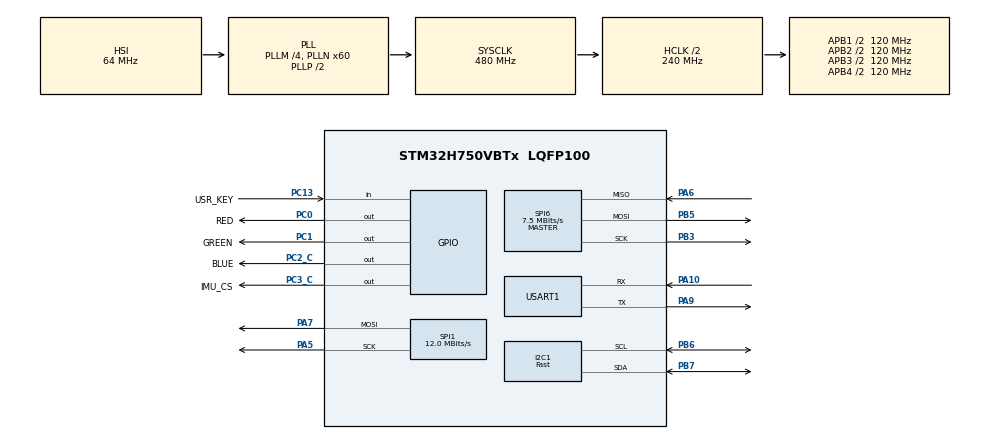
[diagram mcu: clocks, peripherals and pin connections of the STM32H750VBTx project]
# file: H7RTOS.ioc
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CORTEX_M7.AccessPermission_S-Cortex_Memory_Protection_Unit_Region1_Settings_S=MPU_REGION_FULL_ACCESS
CORTEX_M7.BaseAddress_S-Cortex_Memory_Protection_Unit_Region1_Settings_S=0x30000000
CORTEX_M7.CPU_DCache=Enabled
CORTEX_M7.CPU_ICache=Enabled
CORTEX_M7.DisableExec_S-Cortex_Memory_Protection_Unit_Region1_Settings_S=MPU_INSTRUCTION_ACCESS_DISABLE
CORTEX_M7.Enable_S-Cortex_Memory_Protection_Unit_Region1_Settings_S=MPU_REGION_ENABLE
CORTEX_M7.Size_S-Cortex_Memory_Protection_Unit_Region1_Settings_S=MPU_REGION_SIZE_32KB
CORTEX_M7.default_mode_Activation=1
Dma.Request0=SPI1_TX
Dma.Request1=USART1_RX
Dma.Request2=USART1_TX
Dma.SPI1_TX.0.Direction=DMA_MEMORY_TO_PERIPH
Dma.SPI1_TX.0.EventEnable=DISABLE
Dma.SPI1_TX.0.FIFOMode=DMA_FIFOMODE_DISABLE
Dma.SPI1_TX.0.Instance=DMA1_Stream0
Dma.SPI1_TX.0.MemDataAlignment=DMA_MDATAALIGN_BYTE
Dma.SPI1_TX.0.MemInc=DMA_MINC_ENABLE
Dma.SPI1_TX.0.Mode=DMA_NORMAL
Dma.SPI1_TX.0.PeriphDataAlignment=DMA_PDATAALIGN_BYTE
Dma.SPI1_TX.0.PeriphInc=DMA_PINC_DISABLE
Dma.SPI1_TX.0.Polarity=HAL_DMAMUX_REQ_GEN_RISING
Dma.SPI1_TX.0.Priority=DMA_PRIORITY_MEDIUM
Dma.SPI1_TX.0.RequestNumber=1
Dma.SPI1_TX.0.SignalID=NONE
Dma.SPI1_TX.0.SyncEnable=DISABLE
Dma.SPI1_TX.0.SyncPolarity=HAL_DMAMUX_SYNC_NO_EVENT
Dma.SPI1_TX.0.SyncRequestNumber=1
Dma.SPI1_TX.0.SyncSignalID=NONE
Dma.USART1_RX.1.Direction=DMA_PERIPH_TO_MEMORY
Dma.USART1_RX.1.EventEnable=DISABLE
Dma.USART1_RX.1.FIFOMode=DMA_FIFOMODE_DISABLE
Dma.USART1_RX.1.Instance=DMA1_Stream1
Dma.USART1_RX.1.MemDataAlignment=DMA_MDATAALIGN_BYTE
Dma.USART1_RX.1.MemInc=DMA_MINC_ENABLE
Dma.USART1_RX.1.Mode=DMA_CIRCULAR
Dma.USART1_RX.1.PeriphDataAlignment=DMA_PDATAALIGN_BYTE
Dma.USART1_RX.1.PeriphInc=DMA_PINC_DISABLE
Dma.USART1_RX.1.Polarity=HAL_DMAMUX_REQ_GEN_RISING
Dma.USART1_RX.1.Priority=DMA_PRIORITY_LOW
Dma.USART1_RX.1.RequestNumber=1
Dma.USART1_RX.1.SignalID=NONE
Dma.USART1_RX.1.SyncEnable=DISABLE
Dma.USART1_RX.1.SyncPolarity=HAL_DMAMUX_SYNC_NO_EVENT
Dma.USART1_RX.1.SyncRequestNumber=1
Dma.USART1_RX.1.SyncSignalID=NONE
Dma.USART1_TX.2.Direction=DMA_MEMORY_TO_PERIPH
Dma.USART1_TX.2.EventEnable=DISABLE
Dma.USART1_TX.2.FIFOMode=DMA_FIFOMODE_DISABLE
Dma.USART1_TX.2.Instance=DMA1_Stream2
Dma.USART1_TX.2.MemDataAlignment=DMA_MDATAALIGN_BYTE
Dma.USART1_TX.2.MemInc=DMA_MINC_ENABLE
Dma.USART1_TX.2.Mode=DMA_NORMAL
Dma.USART1_TX.2.PeriphDataAlignment=DMA_PDATAALIGN_BYTE
Dma.USART1_TX.2.PeriphInc=DMA_PINC_DISABLE
Dma.USART1_TX.2.Polarity=HAL_DMAMUX_REQ_GEN_RISING
Dma.USART1_TX.2.Priority=DMA_PRIORITY_LOW
Dma.USART1_TX.2.RequestNumber=1
Dma.USART1_TX.2.SignalID=NONE
Dma.USART1_TX.2.SyncEnable=DISABLE
Dma.USART1_TX.2.SyncPolarity=HAL_DMAMUX_SYNC_NO_EVENT
Dma.USART1_TX.2.SyncRequestNumber=1
Dma.USART1_TX.2.SyncSignalID=NONE
FREERTOS.Tasks01=defaultTask,24,128,StartDefaultTask,Default,NULL,Dynamic,NULL,NULL
FREERTOS.configENABLE_FPU=1
FREERTOS.configTOTAL_HEAP_SIZE=65535
I2C1.I2C_Speed_Mode=I2C_Fast
I2C1.Timing=0x00B03FDB
Mcu.Family=STM32H7
Mcu.Name=STM32H750VBTx
Mcu.Package=LQFP100
NVIC.DMA1_Stream0_IRQn=true\:5\:0\:false\:false\:true\:true\:false\:true\:true
NVIC.DMA1_Stream1_IRQn=true\:5\:0\:false\:false\:true\:true\:false\:true\:true
NVIC.DMA1_Stream2_IRQn=true\:5\:0\:false\:false\:true\:true\:false\:true\:true
NVIC.PriorityGroup=NVIC_PRIORITYGROUP_4
NVIC.SPI1_IRQn=true\:5\:0\:false\:false\:true\:true\:false\:true\:true
NVIC.TIM17_IRQn=true\:15\:0\:false\:false\:true\:false\:false\:true\:true
NVIC.TimeBase=TIM17_IRQn
NVIC.TimeBaseIP=TIM17
NVIC.USART1_IRQn=true\:5\:0\:false\:false\:true\:true\:true\:true\:true
PA10.Mode=Asynchronous
PA10.Signal=USART1_RX
PA13\ (JTMS/SWDIO).Mode=Serial_Wire
PA13\ (JTMS/SWDIO).Signal=DEBUG_JTMS-SWDIO
PA14\ (JTCK/SWCLK).Mode=Serial_Wire
PA14\ (JTCK/SWCLK).Signal=DEBUG_JTCK-SWCLK
PA5.GPIO_Speed=GPIO_SPEED_FREQ_VERY_HIGH
PA5.Mode=TX_Only_Simplex_Unidirect_Master
PA5.Signal=SPI1_SCK
PA6.Mode=Full_Duplex_Master
PA6.Signal=SPI6_MISO
PA7.GPIO_Speed=GPIO_SPEED_FREQ_VERY_HIGH
PA7.Mode=TX_Only_Simplex_Unidirect_Master
PA7.Signal=SPI1_MOSI
PA9.Mode=Asynchronous
PA9.Signal=USART1_TX
PB3\ (JTDO/TRACESWO).Mode=Full_Duplex_Master
PB3\ (JTDO/TRACESWO).Signal=SPI6_SCK
PB5.Mode=Full_Duplex_Master
PB5.Signal=SPI6_MOSI
PB6.Mode=I2C
PB6.Signal=I2C1_SCL
PB7.Mode=I2C
PB7.Signal=I2C1_SDA
PC0.GPIO_Label=RED
PC0.Signal=GPIO_Output
PC1.GPIO_Label=GREEN
PC1.Signal=GPIO_Output
PC13.GPIO_Label=USR_KEY
PC13.Signal=GPIO_Input
PC14-OSC32_IN\ (OSC32_IN).Mode=LSE-External-Oscillator
PC14-OSC32_IN\ (OSC32_IN).Signal=RCC_OSC32_IN
PC15-OSC32_OUT\ (OSC32_OUT).Mode=LSE-External-Oscillator
PC15-OSC32_OUT\ (OSC32_OUT).Signal=RCC_OSC32_OUT
PC2_C.GPIO_Label=BLUE
PC2_C.Signal=GPIO_Output
PC3_C.GPIO_Label=IMU_CS
PC3_C.Signal=GPIO_Output
PH0-OSC_IN\ (PH0).Mode=HSE-External-Oscillator
PH0-OSC_IN\ (PH0).Signal=RCC_OSC_IN
PH1-OSC_OUT\ (PH1).Mode=HSE-External-Oscillator
PH1-OSC_OUT\ (PH1).Signal=RCC_OSC_OUT
ProjectManager.HeapSize=0x200
ProjectManager.StackSize=0x400
ProjectManager.TargetToolchain=MDK-ARM V5.32
RCC.ADCFreq_Value=129000000
RCC.APB1Freq_Value=120000000
RCC.APB2Freq_Value=120000000
RCC.APB3Freq_Value=120000000
RCC.APB4Freq_Value=120000000
RCC.CortexFreq_Value=480000000
RCC.D1PPRE=RCC_APB3_DIV2
RCC.D2PPRE1=RCC_APB1_DIV2
RCC.D2PPRE2=RCC_APB2_DIV2
RCC.D3PPRE=RCC_APB4_DIV2
RCC.DIVM1=4
RCC.DIVN1=60
RCC.DIVQ1=5
RCC.HCLKFreq_Value=240000000
RCC.HPRE=RCC_HCLK_DIV2
RCC.PLL2FRACN=0
RCC.PLL3FRACN=0
RCC.PLLFRACN=0
RCC.SYSCLKFreq_VALUE=480000000
RCC.SYSCLKSource=RCC_SYSCLKSOURCE_PLLCLK
RCC.USBFreq_Value=192000000
SPI1.BaudRatePrescaler=SPI_BAUDRATEPRESCALER_16
SPI1.CalculateBaudRate=12.0 MBits/s
SPI1.DataSize=SPI_DATASIZE_8BIT
SPI1.Direction=SPI_DIRECTION_2LINES_TXONLY
SPI1.Mode=SPI_MODE_MASTER
SPI1.NSSPMode=SPI_NSS_PULSE_DISABLE
SPI1.VirtualType=VM_MASTER
SPI6.BaudRatePrescaler=SPI_BAUDRATEPRESCALER_16
SPI6.CalculateBaudRate=7.5 MBits/s
SPI6.DataSize=SPI_DATASIZE_8BIT
SPI6.Direction=SPI_DIRECTION_2LINES
SPI6.Mode=SPI_MODE_MASTER
SPI6.NSSPMode=SPI_NSS_PULSE_DISABLE
SPI6.VirtualType=VM_MASTER
USART1.FIFOMode=FIFOMODE_DISABLE
USART1.VirtualMode-Asynchronous=VM_ASYNC
VP_FREERTOS_VS_CMSIS_V2.Mode=CMSIS_V2
VP_MEMORYMAP_VS_MEMORYMAP.Mode=CurAppReg
VP_SYS_VS_tim17.Mode=TIM17
board=custom

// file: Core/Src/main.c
/* USER CODE BEGIN Header */
/**
  ******************************************************************************
  * @file           : main.c
  * @brief          : Main program body
  ******************************************************************************
  * @attention
  *
  * Copyright (c) 2026 STMicroelectronics.
  * All rights reserved.
  *
  * This software is licensed under terms that can be found in the LICENSE file
  * in the root directory of this software component.
  * If no LICENSE file comes with this software, it is provided AS-IS.
  *
  ******************************************************************************
  */
/* USER CODE END Header */
#include "main.h"
#include "cmsis_os.h"
#include "dma.h"
#include "i2c.h"
#include "spi.h"
#include "usart.h"
#include "gpio.h"

void SystemClock_Config(void);
static void MPU_Config(void);
void MX_FREERTOS_Init(void);

int main(void)
{

  /* MPU Configuration--------------------------------------------------------*/
  MPU_Config();

  /* Enable the CPU Cache */

  /* Enable I-Cache---------------------------------------------------------*/
  SCB_EnableICache();

  /* Enable D-Cache---------------------------------------------------------*/
  SCB_EnableDCache();

  /* MCU Configuration--------------------------------------------------------*/

  /* Reset of all peripherals, Initializes the Flash interface and the Systick. */
  HAL_Init();

  /* Configure the system clock */
  SystemClock_Config();

  /* Initialize all configured peripherals */
  MX_GPIO_Init();
  MX_DMA_Init();
  MX_USART1_UART_Init();
  MX_SPI1_Init();
  MX_I2C1_Init();
  MX_SPI6_Init();

  /* Init scheduler */
  osKernelInitialize();  /* Call init function for freertos objects (in cmsis_os2.c) */
  MX_FREERTOS_Init();

  /* Start scheduler */
  osKernelStart();

  /* We should never get here as control is now taken by the scheduler */

  /* Infinite loop */
  while (1)
  {

  }
}

void SystemClock_Config(void)
{
  RCC_OscInitTypeDef RCC_OscInitStruct = {0};
  RCC_ClkInitTypeDef RCC_ClkInitStruct = {0};

  /** Supply configuration update enable
  */
  HAL_PWREx_ConfigSupply(PWR_LDO_SUPPLY);

  /** Configure the main internal regulator output voltage
  */
  __HAL_PWR_VOLTAGESCALING_CONFIG(PWR_REGULATOR_VOLTAGE_SCALE0);

  while(!__HAL_PWR_GET_FLAG(PWR_FLAG_VOSRDY)) {}

  /** Initializes the RCC Oscillators according to the specified parameters
  * in the RCC_OscInitTypeDef structure.
  */
  RCC_OscInitStruct.OscillatorType = RCC_OSCILLATORTYPE_HSI;
  RCC_OscInitStruct.HSIState = RCC_HSI_DIV1;
  RCC_OscInitStruct.HSICalibrationValue = RCC_HSICALIBRATION_DEFAULT;
  RCC_OscInitStruct.PLL.PLLState = RCC_PLL_ON;
  RCC_OscInitStruct.PLL.PLLSource = RCC_PLLSOURCE_HSI;
  RCC_OscInitStruct.PLL.PLLM = 4;
  RCC_OscInitStruct.PLL.PLLN = 60;
  RCC_OscInitStruct.PLL.PLLP = 2;
  RCC_OscInitStruct.PLL.PLLQ = 5;
  RCC_OscInitStruct.PLL.PLLR = 2;
  RCC_OscInitStruct.PLL.PLLRGE = RCC_PLL1VCIRANGE_3;
  RCC_OscInitStruct.PLL.PLLVCOSEL = RCC_PLL1VCOWIDE;
  RCC_OscInitStruct.PLL.PLLFRACN = 0;
  if (HAL_RCC_OscConfig(&RCC_OscInitStruct) != HAL_OK)
  {
    Error_Handler();
  }

  /** Initializes the CPU, AHB and APB buses clocks
  */
  RCC_ClkInitStruct.ClockType = RCC_CLOCKTYPE_HCLK|RCC_CLOCKTYPE_SYSCLK
                              |RCC_CLOCKTYPE_PCLK1|RCC_CLOCKTYPE_PCLK2
                              |RCC_CLOCKTYPE_D3PCLK1|RCC_CLOCKTYPE_D1PCLK1;
  RCC_ClkInitStruct.SYSCLKSource = RCC_SYSCLKSOURCE_PLLCLK;
  RCC_ClkInitStruct.SYSCLKDivider = RCC_SYSCLK_DIV1;
  RCC_ClkInitStruct.AHBCLKDivider = RCC_HCLK_DIV2;
  RCC_ClkInitStruct.APB3CLKDivider = RCC_APB3_DIV2;
  RCC_ClkInitStruct.APB1CLKDivider = RCC_APB1_DIV2;
  RCC_ClkInitStruct.APB2CLKDivider = RCC_APB2_DIV2;
  RCC_ClkInitStruct.APB4CLKDivider = RCC_APB4_DIV2;

  if (HAL_RCC_ClockConfig(&RCC_ClkInitStruct, FLASH_LATENCY_4) != HAL_OK)
  {
    Error_Handler();
  }
}

 /* MPU Configuration */

void MPU_Config(void)
{
  MPU_Region_InitTypeDef MPU_InitStruct = {0};

  /* Disables the MPU */
  HAL_MPU_Disable();

  /** Initializes and configures the Region and the memory to be protected
  */
  MPU_InitStruct.Enable = MPU_REGION_ENABLE;
  MPU_InitStruct.Number = MPU_REGION_NUMBER0;
  MPU_InitStruct.BaseAddress = 0x0;
  MPU_InitStruct.Size = MPU_REGION_SIZE_4GB;
  MPU_InitStruct.SubRegionDisable = 0x87;
  MPU_InitStruct.TypeExtField = MPU_TEX_LEVEL0;
  MPU_InitStruct.AccessPermission = MPU_REGION_NO_ACCESS;
  MPU_InitStruct.DisableExec = MPU_INSTRUCTION_ACCESS_DISABLE;
  MPU_InitStruct.IsShareable = MPU_ACCESS_SHAREABLE;
  MPU_InitStruct.IsCacheable = MPU_ACCESS_NOT_CACHEABLE;
  MPU_InitStruct.IsBufferable = MPU_ACCESS_NOT_BUFFERABLE;

  HAL_MPU_ConfigRegion(&MPU_InitStruct);

  /** Initializes and configures the Region and the memory to be protected
  */
  MPU_InitStruct.Number = MPU_REGION_NUMBER1;
  MPU_InitStruct.BaseAddress = 0x30000000;
  MPU_InitStruct.Size = MPU_REGION_SIZE_32KB;
  MPU_InitStruct.SubRegionDisable = 0x0;
  MPU_InitStruct.AccessPermission = MPU_REGION_FULL_ACCESS;
  MPU_InitStruct.IsShareable = MPU_ACCESS_NOT_SHAREABLE;

  HAL_MPU_ConfigRegion(&MPU_InitStruct);

  /** External Flash at 0x90000000 (8MB, execute-read) */
  MPU_InitStruct.Number = MPU_REGION_NUMBER2;
  MPU_InitStruct.BaseAddress = 0x90000000;
  MPU_InitStruct.Size = MPU_REGION_SIZE_8MB;
  MPU_InitStruct.SubRegionDisable = 0x0;
  MPU_InitStruct.TypeExtField = MPU_TEX_LEVEL1;
  MPU_InitStruct.AccessPermission = MPU_REGION_PRIV_RO_URO;
  MPU_InitStruct.DisableExec = MPU_INSTRUCTION_ACCESS_ENABLE;
  MPU_InitStruct.IsShareable = MPU_ACCESS_NOT_SHAREABLE;
  MPU_InitStruct.IsCacheable = MPU_ACCESS_CACHEABLE;
  MPU_InitStruct.IsBufferable = MPU_ACCESS_BUFFERABLE;

  HAL_MPU_ConfigRegion(&MPU_InitStruct);
  /* Enables the MPU */
  HAL_MPU_Enable(MPU_PRIVILEGED_DEFAULT);

}

void HAL_TIM_PeriodElapsedCallback(TIM_HandleTypeDef *htim)
{
  if (htim->Instance == TIM17)
  {
    HAL_IncTick();
  }
}

void Error_Handler(void)
{
  __disable_irq();
  while (1)
  {
  }
}

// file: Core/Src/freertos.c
/* USER CODE BEGIN Header */
/**
  ******************************************************************************
  * File Name          : freertos.c
  * Description        : Code for freertos applications
  ******************************************************************************
  * @attention
  *
  * Copyright (c) 2026 STMicroelectronics.
  * All rights reserved.
  *
  * This software is licensed under terms that can be found in the LICENSE file
  * in the root directory of this software component.
  * If no LICENSE file comes with this software, it is provided AS-IS.
  *
  ******************************************************************************
  */
/* USER CODE END Header */

#include "FreeRTOS.h"
#include "task.h"
#include "main.h"
#include "cmsis_os.h"

/* USER CODE BEGIN Includes */
#include <string.h>

#include "app/app_water_sim.h"
#include "bsp/uart/uart_async.h"
#include "bsp/imu963ra/zf_device_imu963ra.h"
#include "service/imu/imu_service.h"
#include "service/cli/port/shell_port.h"
#include "service/cli/log/log.h"
/* USER CODE END Includes */

/* Definitions for defaultTask */
osThreadId_t defaultTaskHandle;
const osThreadAttr_t defaultTask_attributes = {
  .name = "defaultTask",
  .stack_size = 128 * 4,
  .priority = (osPriority_t) osPriorityNormal,
};

void StartDefaultTask(void *argument);

void MX_FREERTOS_Init(void); /* (MISRA C 2004 rule 8.1) */

void MX_FREERTOS_Init(void) {

  /* Create the thread(s) */
  /* creation of defaultTask */
  defaultTaskHandle = osThreadNew(StartDefaultTask, NULL, &defaultTask_attributes);

}

void StartDefaultTask(void *argument)
{
  /* USER CODE BEGIN StartDefaultTask */
  uart_async_init();
  uart_async_start();
  shell_port_init();
  shell_port_start();

  static imu_sensor_t imu963ra_sensor = {
      .imu_init = imu963ra_init,
      .imu_deinit = imu963ra_deinit,
      .imu_get_acc = imu963ra_read_acc,
      .imu_get_gyro = imu963ra_read_gyro,
      .imu_get_mag = imu963ra_read_mag,
      .is_initialized = false,
  };
  imu_service_init(&imu963ra_sensor);
  imu_service_start();

  app_water_sim_init();
  app_water_sim_start();

  /* Infinite loop */
  for(;;)
  {
    HAL_GPIO_TogglePin(BLUE_GPIO_Port, BLUE_Pin);\
    vec3f euler;
    imu_service_get_euler(&euler);
    logInfo("%f,%f,%f", euler.x, euler.y, euler.z);
    osDelay(200);
  }
  /* USER CODE END StartDefaultTask */
}

/* USER CODE BEGIN Application */
void vApplicationStackOverflowHook(TaskHandle_t xTask, char *pcTaskName)
{
  (void)xTask;
  (void)pcTaskName;
  for (;;) { __asm volatile("nop"); }
}

/* FreeRTOS Trace 空桩函数定义 */
#if ( configUSE_TRACE_FACILITY == 1 )

__attribute__((weak)) void traceISR_ENTER(void)
{
  /* 空实现 - 无 trace 工具时留空 */
}

__attribute__((weak)) void traceISR_EXIT(void)
{
  /* 空实现 - 无 trace 工具时留空 */
}

__attribute__((weak)) void traceISR_EXIT_TO_SCHEDULER(void)
{
  /* 空实现 - 无 trace 工具时留空 */
}

#endif /* configUSE_TRACE_FACILITY */
/* USER CODE END Application */
